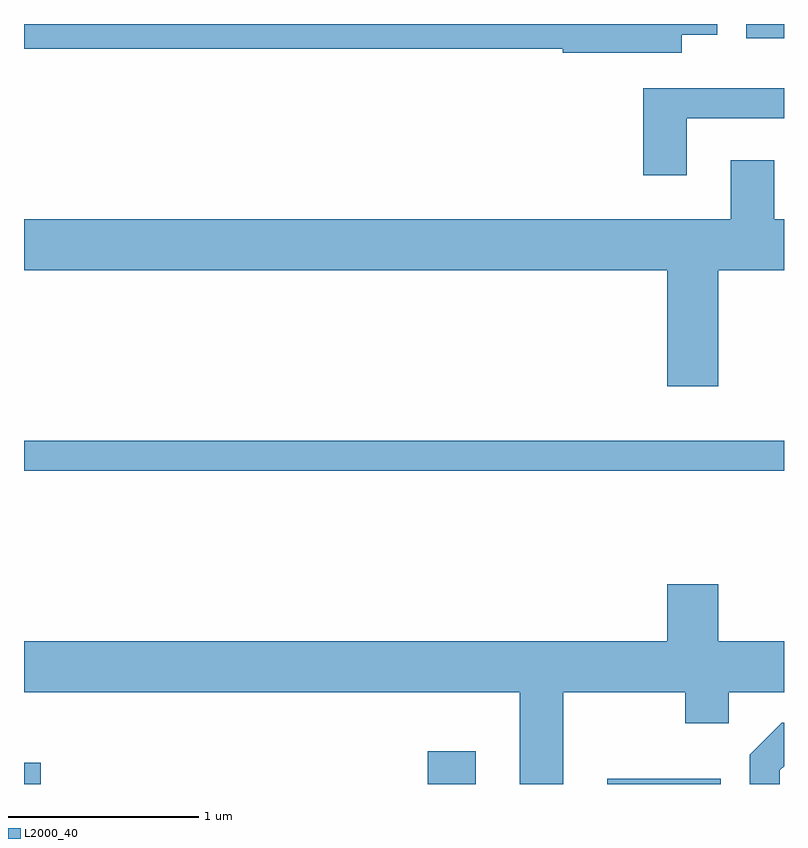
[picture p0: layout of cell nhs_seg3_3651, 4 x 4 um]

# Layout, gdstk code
import gdstk
lib = gdstk.Library(unit=1e-6, precision=1e-09)
def R(c, l, rs):  # rectangles x0, y0, x1, y1
    for r in rs: c.add(gdstk.rectangle(r[:2], r[2:], *l))
def P(c, l, *ps):  # polygons
    for p in ps: c.add(gdstk.Polygon(p, *l))
L2000_40 = (2000, 40)

nhs_seg3_3651 = lib.new_cell('nhs_seg3_3651')
R(nhs_seg3_3651, L2000_40, [(291.611,1209.892,291.698,1210.004), (293.736,1209.892,293.989,1210.064), (294.681,1209.892,295.279,1209.919), (291.611,1211.541,295.611,1211.699), (295.411,1213.816,295.611,1213.892)])
P(nhs_seg3_3651, L2000_40, [(295.074,1213.836),(295.259,1213.836),(295.259,1213.892),(291.611,1213.892),(291.611,1213.761),(294.446,1213.761),(294.446,1213.741),(295.074,1213.741)],
  [(295.099,1213.396),(295.611,1213.396),(295.611,1213.554),(294.871,1213.554),(294.871,1213.096),(295.099,1213.096)],
  [(295.264,1212.596),(295.611,1212.596),(295.611,1212.864),(295.559,1212.864),(295.559,1213.174),(295.331,1213.174),(295.331,1212.864),(291.611,1212.864),(291.611,1212.596),(294.996,1212.596),(294.996,1211.986),(295.264,1211.986)],
  [(294.449,1210.376),(295.091,1210.376),(295.091,1210.211),(295.319,1210.211),(295.319,1210.376),(295.611,1210.376),(295.611,1210.644),(295.264,1210.644),(295.264,1210.944),(294.996,1210.944),(294.996,1210.644),(291.611,1210.644),(291.611,1210.376),(294.221,1210.376),(294.221,1209.892),(294.449,1209.892)],
  [(295.589,1209.964),(295.611,1209.986),(295.611,1210.214),(295.599,1210.214),(295.431,1210.047),(295.431,1209.892),(295.589,1209.892)])

lib.write_gds('nhs_seg3_3651.gds')
